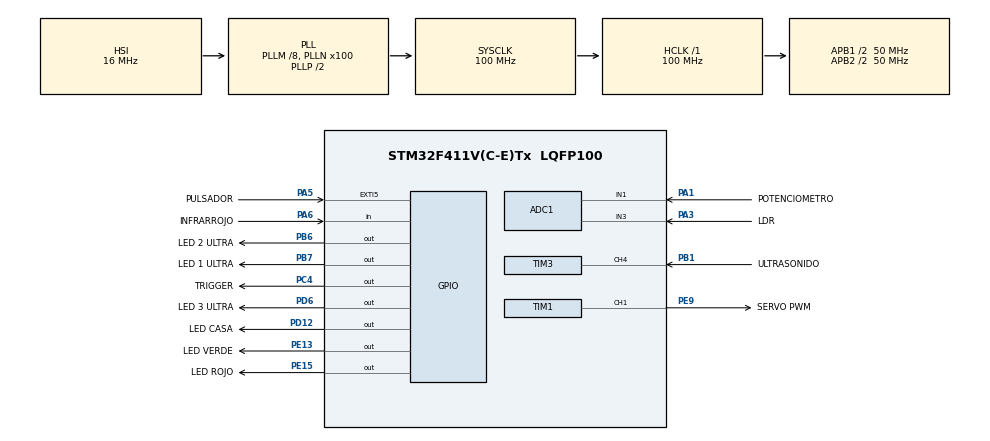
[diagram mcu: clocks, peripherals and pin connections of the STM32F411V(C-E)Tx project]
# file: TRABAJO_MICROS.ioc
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ADC1.Channel-11\#ChannelRegularConversion=ADC_CHANNEL_3
ADC1.Channel-9\#ChannelRegularConversion=ADC_CHANNEL_1
ADC1.ContinuousConvMode=ENABLE
ADC1.DMAContinuousRequests=ENABLE
ADC1.NbrOfConversion=2
ADC1.NbrOfConversionFlag=1
ADC1.Rank-11\#ChannelRegularConversion=2
ADC1.Rank-9\#ChannelRegularConversion=1
ADC1.SamplingTime-11\#ChannelRegularConversion=ADC_SAMPLETIME_480CYCLES
ADC1.SamplingTime-9\#ChannelRegularConversion=ADC_SAMPLETIME_480CYCLES
ADC1.master=1
Dma.ADC1.0.Direction=DMA_PERIPH_TO_MEMORY
Dma.ADC1.0.FIFOMode=DMA_FIFOMODE_DISABLE
Dma.ADC1.0.Instance=DMA2_Stream0
Dma.ADC1.0.MemDataAlignment=DMA_MDATAALIGN_WORD
Dma.ADC1.0.MemInc=DMA_MINC_ENABLE
Dma.ADC1.0.Mode=DMA_CIRCULAR
Dma.ADC1.0.PeriphDataAlignment=DMA_PDATAALIGN_WORD
Dma.ADC1.0.PeriphInc=DMA_PINC_DISABLE
Dma.ADC1.0.Priority=DMA_PRIORITY_LOW
Dma.Request0=ADC1
Mcu.Family=STM32F4
Mcu.Name=STM32F411V(C-E)Tx
Mcu.Package=LQFP100
NVIC.ADC_IRQn=true\:0\:0\:false\:false\:true\:true\:true\:true
NVIC.DMA2_Stream0_IRQn=true\:0\:0\:false\:false\:true\:false\:true\:true
NVIC.EXTI9_5_IRQn=true\:0\:0\:false\:false\:true\:true\:true\:true
NVIC.PriorityGroup=NVIC_PRIORITYGROUP_0
NVIC.TIM3_IRQn=true\:0\:0\:false\:false\:true\:true\:true\:true
PA1.GPIO_Label=POTENCIOMETRO
PA1.Signal=ADCx_IN1
PA3.GPIO_Label=LDR
PA3.Signal=ADCx_IN3
PA5.GPIO_Label=PULSADOR
PA5.Signal=GPXTI5
PA6.GPIO_Label=INFRARROJO
PA6.Signal=GPIO_Input
PB1.GPIO_Label=ULTRASONIDO
PB1.Signal=S_TIM3_CH4
PB6.GPIO_Label=LED 2 ULTRA
PB6.Signal=GPIO_Output
PB7.GPIO_Label=LED 1 ULTRA
PB7.Signal=GPIO_Output
PC4.GPIO_Label=TRIGGER
PC4.Signal=GPIO_Output
PD12.GPIO_Label=LED CASA
PD12.Signal=GPIO_Output
PD6.GPIO_Label=LED 3 ULTRA
PD6.Signal=GPIO_Output
PE13.GPIO_Label=LED VERDE
PE13.Signal=GPIO_Output
PE15.GPIO_Label=LED ROJO
PE15.Signal=GPIO_Output
PE9.GPIO_Label=SERVO PWM
PE9.Signal=S_TIM1_CH1
ProjectManager.HeapSize=0x200
ProjectManager.StackSize=0x400
ProjectManager.TargetToolchain=STM32CubeIDE
RCC.48MHZClocksFreq_Value=25000000
RCC.AHBFreq_Value=100000000
RCC.APB1CLKDivider=RCC_HCLK_DIV2
RCC.APB1Freq_Value=50000000
RCC.APB1TimFreq_Value=100000000
RCC.APB2CLKDivider=RCC_HCLK_DIV2
RCC.APB2Freq_Value=50000000
RCC.APB2TimFreq_Value=100000000
RCC.CortexFreq_Value=100000000
RCC.HCLKFreq_Value=100000000
RCC.HSE_VALUE=8000000
RCC.HSI_VALUE=16000000
RCC.LSE_VALUE=32768
RCC.PLLI2SM=5
RCC.PLLI2SN=200
RCC.PLLM=8
RCC.PLLN=100
RCC.PLLQ=8
RCC.SYSCLKFreq_VALUE=100000000
RCC.SYSCLKSource=RCC_SYSCLKSOURCE_PLLCLK
RCC.VCOOutputFreq_Value=200000000
SH.ADCx_IN1.0=ADC1_IN1,IN1
SH.ADCx_IN3.0=ADC1_IN3,IN3
SH.S_TIM1_CH1.0=TIM1_CH1,PWM Generation1 CH1
SH.S_TIM3_CH4.0=TIM3_CH4,Input_Capture4_from_TI4
TIM1.AutoReloadPreload=TIM_AUTORELOAD_PRELOAD_ENABLE
TIM1.Channel-PWM\ Generation1\ CH1=TIM_CHANNEL_1
TIM1.CounterMode=TIM_COUNTERMODE_UP
TIM1.Period=100-1
TIM1.Prescaler=20000-1
TIM3.Channel-Input_Capture4_from_TI4=TIM_CHANNEL_4
TIM3.ICFilter_CH4=4
TIM3.Prescaler=100-1
VP_TIM1_VS_ClockSourceINT.Mode=Internal
VP_TIM3_VS_ClockSourceINT.Mode=Internal
board=STM32F411E-DISCO

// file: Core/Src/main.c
/* USER CODE BEGIN Header */
/**
  ******************************************************************************
  * @file           : main.c
  * @brief          : Main program body
  ******************************************************************************
  * @attention
  *
  * Copyright (c) 2023 STMicroelectronics.
  * All rights reserved.
  *
  * This software is licensed under terms that can be found in the LICENSE file
  * in the root directory of this software component.
  * If no LICENSE file comes with this software, it is provided AS-IS.
  *
  ******************************************************************************
  */
/* USER CODE END Header */
#include "main.h"

ADC_HandleTypeDef hadc1;
DMA_HandleTypeDef hdma_adc1;

TIM_HandleTypeDef htim1;
TIM_HandleTypeDef htim3;

void SystemClock_Config(void);
static void MX_GPIO_Init(void);
static void MX_DMA_Init(void);
static void MX_ADC1_Init(void);
static void MX_TIM1_Init(void);
static void MX_TIM3_Init(void);

/* USER CODE BEGIN 0 */

uint32_t valor_adc[2];              // almacena los valores de los sensores analógicos
uint32_t pot_val=0,ldr_val=0;       // dan nombre a los valores de los sensores analógicos
uint32_t duty=0;                    // valor del ancho de pulso del pwm del servomotor
volatile uint8_t modo=0;           // indica el modo de apertura de la barrera (0 - automático, 1 - manual)
volatile uint8_t dma_completo = 0; // finalización de las lecturas dma de los sensores analógicos
volatile uint8_t bajar_barrera=0; // se utiliza como callback para evitar el uso de DELAYS
uint8_t es_pv=0;                 // variable para configuracón de temporizador de ultrasonido
int distancia=0;                 // da valor a la distancia medida por el sensor de ultrasonido
uint32_t valor1,valor2,periodo;  // variable para configuracón de temporizador de ultrasonido

void HAL_TIM_IC_CaptureCallback(TIM_HandleTypeDef *htim){
	if(htim->Channel==HAL_TIM_ACTIVE_CHANNEL_4){
		if(es_pv==0)
		{
			valor1=HAL_TIM_ReadCapturedValue(htim,TIM_CHANNEL_4);
			es_pv=1;
			__HAL_TIM_SET_CAPTUREPOLARITY(htim, TIM_CHANNEL_4,TIM_INPUTCHANNELPOLARITY_FALLING);

		}
		else if(es_pv==1){
				valor2=HAL_TIM_ReadCapturedValue(htim,TIM_CHANNEL_4);
				__HAL_TIM_SET_COUNTER(htim,0);
				if(valor2>valor1){
					periodo=valor2-valor1;
				}
				es_pv=0;
				__HAL_TIM_SET_CAPTUREPOLARITY(htim, TIM_CHANNEL_4,TIM_INPUTCHANNELPOLARITY_RISING);
		}
	}

}

uint32_t servo_manual(uint32_t value){
	if(value>0 && value<3500){ // cerrado
		HAL_GPIO_WritePin(GPIOE,GPIO_PIN_13,1);
		HAL_GPIO_WritePin(GPIOE,GPIO_PIN_15,0);
		return 5;
	}
	else if(value>=3500){ // abierto
		HAL_GPIO_WritePin(GPIOE,GPIO_PIN_13,0);
		HAL_GPIO_WritePin(GPIOE,GPIO_PIN_15,1);
		return 8;
	}
	else return 8;
}

void servo_automatico(){

	int contador=0,tiempo=0;

		if((HAL_GPIO_ReadPin(GPIOA,GPIO_PIN_6))&&(bajar_barrera==0)){
			tiempo=HAL_GetTick();
			while(contador<4){
				if((HAL_GetTick()-tiempo)>=25){
					if(HAL_GPIO_ReadPin(GPIOA,GPIO_PIN_6)==0){
						contador=0;break;
					}
					else {
						tiempo=HAL_GetTick();
						contador++;
					}
				}
				if((contador==4)&&(HAL_GPIO_ReadPin(GPIOA,GPIO_PIN_6)==1)){
					__HAL_TIM_SET_COMPARE(&htim1,TIM_CHANNEL_1,5);
					HAL_GPIO_WritePin(GPIOE,GPIO_PIN_13,1);
					HAL_GPIO_WritePin(GPIOE,GPIO_PIN_15,0);
					bajar_barrera=1;
				}

			}
		}
		contador=0;
}

void HAL_GPIO_EXTI_Callback(uint16_t GPIO_Pin){
	if(GPIO_Pin==GPIO_PIN_5){
		if(modo==0)modo=1;
		else if(modo==1)modo=0;
	}
}

int encender_led(uint32_t value){
	if(value<3000)return 1;
	else return 0;
}

void encender_leds_carretera(int distancia){
	 if((distancia>=0)&&(distancia<=7)){
		  		  HAL_GPIO_WritePin(GPIOB,GPIO_PIN_7,GPIO_PIN_SET);
		  		  HAL_GPIO_WritePin(GPIOB,GPIO_PIN_6,GPIO_PIN_RESET);
		  		  HAL_GPIO_WritePin(GPIOD,GPIO_PIN_6,GPIO_PIN_RESET);
		  }

		  if((distancia>=8)&&(distancia<=15)){
		  		  HAL_GPIO_WritePin(GPIOB,GPIO_PIN_7,GPIO_PIN_RESET);
		  		  HAL_GPIO_WritePin(GPIOB,GPIO_PIN_6,GPIO_PIN_SET);
		  		  HAL_GPIO_WritePin(GPIOD,GPIO_PIN_6,GPIO_PIN_RESET);
		  }

		  if((distancia>=16)&&(distancia<=24)){
		  		  HAL_GPIO_WritePin(GPIOB,GPIO_PIN_7,GPIO_PIN_RESET);
		  		  HAL_GPIO_WritePin(GPIOB,GPIO_PIN_6,GPIO_PIN_RESET);
		  		  HAL_GPIO_WritePin(GPIOD,GPIO_PIN_6,GPIO_PIN_SET);
		  }

		  if(distancia>24){
			  HAL_GPIO_WritePin(GPIOB,GPIO_PIN_7,GPIO_PIN_RESET);
			  HAL_GPIO_WritePin(GPIOB,GPIO_PIN_6,GPIO_PIN_RESET);
			  HAL_GPIO_WritePin(GPIOD,GPIO_PIN_6,GPIO_PIN_RESET);
		  }
}

void HAL_ADC_ConvCpltCallback(ADC_HandleTypeDef *hadc)
{
  // Indicar que la transferencia DMA ha terminado
  dma_completo = 1;
}

/* USER CODE END 0 */

int main(void)
{

  /* MCU Configuration--------------------------------------------------------*/

  /* Reset of all peripherals, Initializes the Flash interface and the Systick. */
  HAL_Init();

  /* Configure the system clock */
  SystemClock_Config();

  /* Initialize all configured peripherals */
  MX_GPIO_Init();
  MX_DMA_Init();
  MX_ADC1_Init();
  MX_TIM1_Init();
  MX_TIM3_Init();
  /* USER CODE BEGIN 2 */
  HAL_TIM_PWM_Start(&htim1,TIM_CHANNEL_1);
  __HAL_TIM_SET_COMPARE(&htim1,TIM_CHANNEL_1,0);

  HAL_ADC_Start_DMA(&hadc1,valor_adc,2); // lectura de varios canales con DMA

  /* USER CODE END 2 */

  /* Infinite loop */
  /* USER CODE BEGIN WHILE */
  int tiempo_barrera=0;
  int aux=0;
  while (1)
  {
	 pot_val=valor_adc[0];
	 ldr_val=valor_adc[1];

	  if(modo==1) __HAL_TIM_SET_COMPARE(&htim1,TIM_CHANNEL_1,servo_manual(pot_val));
	  else servo_automatico();

	  HAL_GPIO_WritePin(GPIOD,GPIO_PIN_12,encender_led(ldr_val));

	  // ENVIO DE SEÑAL DEL TRIGGER
	  HAL_GPIO_WritePin(GPIOC,GPIO_PIN_4,GPIO_PIN_SET);
	  HAL_Delay(10);
	  HAL_GPIO_WritePin(GPIOC,GPIO_PIN_4,GPIO_PIN_RESET);

	  HAL_TIM_IC_Start_IT(&htim3,TIM_CHANNEL_4);

	  if((bajar_barrera==1)&&(aux==0)){
		  tiempo_barrera=HAL_GetTick();
		  aux=1;
	  }

	  if(HAL_GetTick()-tiempo_barrera>3000){
		 __HAL_TIM_SET_COMPARE(&htim1,TIM_CHANNEL_1,8); // cerrado
		 HAL_GPIO_WritePin(GPIOE,GPIO_PIN_13,0);
		 HAL_GPIO_WritePin(GPIOE,GPIO_PIN_15,1);
		 bajar_barrera=0;
		 aux=0;
	  }

	  distancia=periodo/58;
	  encender_leds_carretera(distancia);

    /* USER CODE END WHILE */

  }
}

void SystemClock_Config(void)
{
  RCC_OscInitTypeDef RCC_OscInitStruct = {0};
  RCC_ClkInitTypeDef RCC_ClkInitStruct = {0};

  /** Configure the main internal regulator output voltage
  */
  __HAL_RCC_PWR_CLK_ENABLE();
  __HAL_PWR_VOLTAGESCALING_CONFIG(PWR_REGULATOR_VOLTAGE_SCALE1);

  /** Initializes the RCC Oscillators according to the specified parameters
  * in the RCC_OscInitTypeDef structure.
  */
  RCC_OscInitStruct.OscillatorType = RCC_OSCILLATORTYPE_HSI;
  RCC_OscInitStruct.HSIState = RCC_HSI_ON;
  RCC_OscInitStruct.HSICalibrationValue = RCC_HSICALIBRATION_DEFAULT;
  RCC_OscInitStruct.PLL.PLLState = RCC_PLL_ON;
  RCC_OscInitStruct.PLL.PLLSource = RCC_PLLSOURCE_HSI;
  RCC_OscInitStruct.PLL.PLLM = 8;
  RCC_OscInitStruct.PLL.PLLN = 100;
  RCC_OscInitStruct.PLL.PLLP = RCC_PLLP_DIV2;
  RCC_OscInitStruct.PLL.PLLQ = 8;
  if (HAL_RCC_OscConfig(&RCC_OscInitStruct) != HAL_OK)
  {
    Error_Handler();
  }

  /** Initializes the CPU, AHB and APB buses clocks
  */
  RCC_ClkInitStruct.ClockType = RCC_CLOCKTYPE_HCLK|RCC_CLOCKTYPE_SYSCLK
                              |RCC_CLOCKTYPE_PCLK1|RCC_CLOCKTYPE_PCLK2;
  RCC_ClkInitStruct.SYSCLKSource = RCC_SYSCLKSOURCE_PLLCLK;
  RCC_ClkInitStruct.AHBCLKDivider = RCC_SYSCLK_DIV1;
  RCC_ClkInitStruct.APB1CLKDivider = RCC_HCLK_DIV2;
  RCC_ClkInitStruct.APB2CLKDivider = RCC_HCLK_DIV2;

  if (HAL_RCC_ClockConfig(&RCC_ClkInitStruct, FLASH_LATENCY_3) != HAL_OK)
  {
    Error_Handler();
  }
}

static void MX_ADC1_Init(void)
{

  ADC_ChannelConfTypeDef sConfig = {0};

  /** Configure the global features of the ADC (Clock, Resolution, Data Alignment and number of conversion)
  */
  hadc1.Instance = ADC1;
  hadc1.Init.ClockPrescaler = ADC_CLOCK_SYNC_PCLK_DIV2;
  hadc1.Init.Resolution = ADC_RESOLUTION_12B;
  hadc1.Init.ScanConvMode = ENABLE;
  hadc1.Init.ContinuousConvMode = ENABLE;
  hadc1.Init.DiscontinuousConvMode = DISABLE;
  hadc1.Init.ExternalTrigConvEdge = ADC_EXTERNALTRIGCONVEDGE_NONE;
  hadc1.Init.ExternalTrigConv = ADC_SOFTWARE_START;
  hadc1.Init.DataAlign = ADC_DATAALIGN_RIGHT;
  hadc1.Init.NbrOfConversion = 2;
  hadc1.Init.DMAContinuousRequests = ENABLE;
  hadc1.Init.EOCSelection = ADC_EOC_SINGLE_CONV;
  if (HAL_ADC_Init(&hadc1) != HAL_OK)
  {
    Error_Handler();
  }

  /** Configure for the selected ADC regular channel its corresponding rank in the sequencer and its sample time.
  */
  sConfig.Channel = ADC_CHANNEL_1;
  sConfig.Rank = 1;
  sConfig.SamplingTime = ADC_SAMPLETIME_480CYCLES;
  if (HAL_ADC_ConfigChannel(&hadc1, &sConfig) != HAL_OK)
  {
    Error_Handler();
  }

  /** Configure for the selected ADC regular channel its corresponding rank in the sequencer and its sample time.
  */
  sConfig.Channel = ADC_CHANNEL_3;
  sConfig.Rank = 2;
  if (HAL_ADC_ConfigChannel(&hadc1, &sConfig) != HAL_OK)
  {
    Error_Handler();
  }

}

static void MX_TIM1_Init(void)
{

  TIM_ClockConfigTypeDef sClockSourceConfig = {0};
  TIM_MasterConfigTypeDef sMasterConfig = {0};
  TIM_OC_InitTypeDef sConfigOC = {0};
  TIM_BreakDeadTimeConfigTypeDef sBreakDeadTimeConfig = {0};

  htim1.Instance = TIM1;
  htim1.Init.Prescaler = 20000-1;
  htim1.Init.CounterMode = TIM_COUNTERMODE_UP;
  htim1.Init.Period = 100-1;
  htim1.Init.ClockDivision = TIM_CLOCKDIVISION_DIV1;
  htim1.Init.RepetitionCounter = 0;
  htim1.Init.AutoReloadPreload = TIM_AUTORELOAD_PRELOAD_ENABLE;
  if (HAL_TIM_Base_Init(&htim1) != HAL_OK)
  {
    Error_Handler();
  }
  sClockSourceConfig.ClockSource = TIM_CLOCKSOURCE_INTERNAL;
  if (HAL_TIM_ConfigClockSource(&htim1, &sClockSourceConfig) != HAL_OK)
  {
    Error_Handler();
  }
  if (HAL_TIM_PWM_Init(&htim1) != HAL_OK)
  {
    Error_Handler();
  }
  sMasterConfig.MasterOutputTrigger = TIM_TRGO_RESET;
  sMasterConfig.MasterSlaveMode = TIM_MASTERSLAVEMODE_DISABLE;
  if (HAL_TIMEx_MasterConfigSynchronization(&htim1, &sMasterConfig) != HAL_OK)
  {
    Error_Handler();
  }
  sConfigOC.OCMode = TIM_OCMODE_PWM1;
  sConfigOC.Pulse = 0;
  sConfigOC.OCPolarity = TIM_OCPOLARITY_HIGH;
  sConfigOC.OCNPolarity = TIM_OCNPOLARITY_HIGH;
  sConfigOC.OCFastMode = TIM_OCFAST_DISABLE;
  sConfigOC.OCIdleState = TIM_OCIDLESTATE_RESET;
  sConfigOC.OCNIdleState = TIM_OCNIDLESTATE_RESET;
  if (HAL_TIM_PWM_ConfigChannel(&htim1, &sConfigOC, TIM_CHANNEL_1) != HAL_OK)
  {
    Error_Handler();
  }
  sBreakDeadTimeConfig.OffStateRunMode = TIM_OSSR_DISABLE;
  sBreakDeadTimeConfig.OffStateIDLEMode = TIM_OSSI_DISABLE;
  sBreakDeadTimeConfig.LockLevel = TIM_LOCKLEVEL_OFF;
  sBreakDeadTimeConfig.DeadTime = 0;
  sBreakDeadTimeConfig.BreakState = TIM_BREAK_DISABLE;
  sBreakDeadTimeConfig.BreakPolarity = TIM_BREAKPOLARITY_HIGH;
  sBreakDeadTimeConfig.AutomaticOutput = TIM_AUTOMATICOUTPUT_DISABLE;
  if (HAL_TIMEx_ConfigBreakDeadTime(&htim1, &sBreakDeadTimeConfig) != HAL_OK)
  {
    Error_Handler();
  }
  HAL_TIM_MspPostInit(&htim1);

}

static void MX_TIM3_Init(void)
{

  TIM_ClockConfigTypeDef sClockSourceConfig = {0};
  TIM_MasterConfigTypeDef sMasterConfig = {0};
  TIM_IC_InitTypeDef sConfigIC = {0};

  htim3.Instance = TIM3;
  htim3.Init.Prescaler = 100-1;
  htim3.Init.CounterMode = TIM_COUNTERMODE_UP;
  htim3.Init.Period = 65535;
  htim3.Init.ClockDivision = TIM_CLOCKDIVISION_DIV1;
  htim3.Init.AutoReloadPreload = TIM_AUTORELOAD_PRELOAD_DISABLE;
  if (HAL_TIM_Base_Init(&htim3) != HAL_OK)
  {
    Error_Handler();
  }
  sClockSourceConfig.ClockSource = TIM_CLOCKSOURCE_INTERNAL;
  if (HAL_TIM_ConfigClockSource(&htim3, &sClockSourceConfig) != HAL_OK)
  {
    Error_Handler();
  }
  if (HAL_TIM_IC_Init(&htim3) != HAL_OK)
  {
    Error_Handler();
  }
  sMasterConfig.MasterOutputTrigger = TIM_TRGO_RESET;
  sMasterConfig.MasterSlaveMode = TIM_MASTERSLAVEMODE_DISABLE;
  if (HAL_TIMEx_MasterConfigSynchronization(&htim3, &sMasterConfig) != HAL_OK)
  {
    Error_Handler();
  }
  sConfigIC.ICPolarity = TIM_INPUTCHANNELPOLARITY_RISING;
  sConfigIC.ICSelection = TIM_ICSELECTION_DIRECTTI;
  sConfigIC.ICPrescaler = TIM_ICPSC_DIV1;
  sConfigIC.ICFilter = 4;
  if (HAL_TIM_IC_ConfigChannel(&htim3, &sConfigIC, TIM_CHANNEL_4) != HAL_OK)
  {
    Error_Handler();
  }

}

static void MX_DMA_Init(void)
{

  /* DMA controller clock enable */
  __HAL_RCC_DMA2_CLK_ENABLE();

  /* DMA interrupt init */
  /* DMA2_Stream0_IRQn interrupt configuration */
  HAL_NVIC_SetPriority(DMA2_Stream0_IRQn, 0, 0);
  HAL_NVIC_EnableIRQ(DMA2_Stream0_IRQn);

}

static void MX_GPIO_Init(void)
{
  GPIO_InitTypeDef GPIO_InitStruct = {0};

  /* GPIO Ports Clock Enable */
  __HAL_RCC_GPIOA_CLK_ENABLE();
  __HAL_RCC_GPIOC_CLK_ENABLE();
  __HAL_RCC_GPIOB_CLK_ENABLE();
  __HAL_RCC_GPIOE_CLK_ENABLE();
  __HAL_RCC_GPIOD_CLK_ENABLE();

  /*Configure GPIO pin Output Level */
  HAL_GPIO_WritePin(TRIGGER_GPIO_Port, TRIGGER_Pin, GPIO_PIN_RESET);

  /*Configure GPIO pin Output Level */
  HAL_GPIO_WritePin(GPIOE, LED_VERDE_Pin|LED_ROJO_Pin, GPIO_PIN_RESET);

  /*Configure GPIO pin Output Level */
  HAL_GPIO_WritePin(GPIOD, LED_CASA_Pin|LED_3_ULTRA_Pin, GPIO_PIN_RESET);

  /*Configure GPIO pin Output Level */
  HAL_GPIO_WritePin(GPIOB, LED_2_ULTRA_Pin|LED_1_ULTRA_Pin, GPIO_PIN_RESET);

  /*Configure GPIO pin : PULSADOR_Pin */
  GPIO_InitStruct.Pin = PULSADOR_Pin;
  GPIO_InitStruct.Mode = GPIO_MODE_IT_RISING;
  GPIO_InitStruct.Pull = GPIO_NOPULL;
  HAL_GPIO_Init(PULSADOR_GPIO_Port, &GPIO_InitStruct);

  /*Configure GPIO pin : INFRARROJO_Pin */
  GPIO_InitStruct.Pin = INFRARROJO_Pin;
  GPIO_InitStruct.Mode = GPIO_MODE_INPUT;
  GPIO_InitStruct.Pull = GPIO_NOPULL;
  HAL_GPIO_Init(INFRARROJO_GPIO_Port, &GPIO_InitStruct);

  /*Configure GPIO pin : TRIGGER_Pin */
  GPIO_InitStruct.Pin = TRIGGER_Pin;
  GPIO_InitStruct.Mode = GPIO_MODE_OUTPUT_PP;
  GPIO_InitStruct.Pull = GPIO_NOPULL;
  GPIO_InitStruct.Speed = GPIO_SPEED_FREQ_LOW;
  HAL_GPIO_Init(TRIGGER_GPIO_Port, &GPIO_InitStruct);

  /*Configure GPIO pins : LED_VERDE_Pin LED_ROJO_Pin */
  GPIO_InitStruct.Pin = LED_VERDE_Pin|LED_ROJO_Pin;
  GPIO_InitStruct.Mode = GPIO_MODE_OUTPUT_PP;
  GPIO_InitStruct.Pull = GPIO_NOPULL;
  GPIO_InitStruct.Speed = GPIO_SPEED_FREQ_LOW;
  HAL_GPIO_Init(GPIOE, &GPIO_InitStruct);

  /*Configure GPIO pins : LED_CASA_Pin LED_3_ULTRA_Pin */
  GPIO_InitStruct.Pin = LED_CASA_Pin|LED_3_ULTRA_Pin;
  GPIO_InitStruct.Mode = GPIO_MODE_OUTPUT_PP;
  GPIO_InitStruct.Pull = GPIO_NOPULL;
  GPIO_InitStruct.Speed = GPIO_SPEED_FREQ_LOW;
  HAL_GPIO_Init(GPIOD, &GPIO_InitStruct);

  /*Configure GPIO pins : LED_2_ULTRA_Pin LED_1_ULTRA_Pin */
  GPIO_InitStruct.Pin = LED_2_ULTRA_Pin|LED_1_ULTRA_Pin;
  GPIO_InitStruct.Mode = GPIO_MODE_OUTPUT_PP;
  GPIO_InitStruct.Pull = GPIO_NOPULL;
  GPIO_InitStruct.Speed = GPIO_SPEED_FREQ_LOW;
  HAL_GPIO_Init(GPIOB, &GPIO_InitStruct);

  /* EXTI interrupt init*/
  HAL_NVIC_SetPriority(EXTI9_5_IRQn, 0, 0);
  HAL_NVIC_EnableIRQ(EXTI9_5_IRQn);

}

void Error_Handler(void)
{
  __disable_irq();
  while (1)
  {
  }
}
